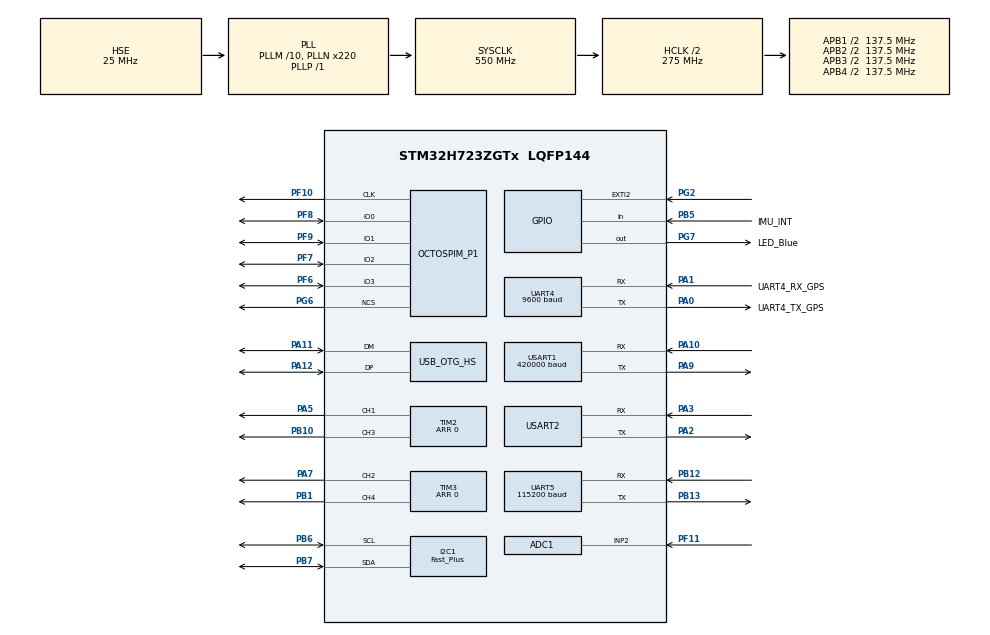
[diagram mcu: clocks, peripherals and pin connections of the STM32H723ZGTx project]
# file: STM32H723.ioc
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ADC1.Channel-0\#ChannelRegularConversion=ADC_CHANNEL_2
ADC1.NbrOfConversionFlag=1
ADC1.OffsetNumber-0\#ChannelRegularConversion=ADC_OFFSET_NONE
ADC1.OffsetSignedSaturation-0\#ChannelRegularConversion=DISABLE
ADC1.Rank-0\#ChannelRegularConversion=1
ADC1.SamplingTime-0\#ChannelRegularConversion=ADC_SAMPLETIME_1CYCLE_5
ADC1.master=1
Dma.Request0=TIM2_CH1
Dma.Request1=TIM3_CH2
Dma.Request2=TIM3_CH4
Dma.Request3=TIM2_CH3
Dma.Request4=UART4_RX
Dma.Request5=UART4_TX
Dma.Request6=USART1_RX
Dma.TIM2_CH1.0.Direction=DMA_MEMORY_TO_PERIPH
Dma.TIM2_CH1.0.EventEnable=DISABLE
Dma.TIM2_CH1.0.FIFOMode=DMA_FIFOMODE_ENABLE
Dma.TIM2_CH1.0.FIFOThreshold=DMA_FIFO_THRESHOLD_1QUARTERFULL
Dma.TIM2_CH1.0.Instance=DMA1_Stream0
Dma.TIM2_CH1.0.MemBurst=DMA_MBURST_SINGLE
Dma.TIM2_CH1.0.MemDataAlignment=DMA_MDATAALIGN_WORD
Dma.TIM2_CH1.0.MemInc=DMA_MINC_ENABLE
Dma.TIM2_CH1.0.Mode=DMA_NORMAL
Dma.TIM2_CH1.0.PeriphBurst=DMA_PBURST_SINGLE
Dma.TIM2_CH1.0.PeriphDataAlignment=DMA_PDATAALIGN_WORD
Dma.TIM2_CH1.0.PeriphInc=DMA_PINC_DISABLE
Dma.TIM2_CH1.0.Polarity=HAL_DMAMUX_REQ_GEN_RISING
Dma.TIM2_CH1.0.Priority=DMA_PRIORITY_HIGH
Dma.TIM2_CH1.0.RequestNumber=1
Dma.TIM2_CH1.0.SignalID=NONE
Dma.TIM2_CH1.0.SyncEnable=DISABLE
Dma.TIM2_CH1.0.SyncPolarity=HAL_DMAMUX_SYNC_NO_EVENT
Dma.TIM2_CH1.0.SyncRequestNumber=1
Dma.TIM2_CH1.0.SyncSignalID=NONE
Dma.TIM2_CH3.3.Direction=DMA_MEMORY_TO_PERIPH
Dma.TIM2_CH3.3.EventEnable=DISABLE
Dma.TIM2_CH3.3.FIFOMode=DMA_FIFOMODE_ENABLE
Dma.TIM2_CH3.3.FIFOThreshold=DMA_FIFO_THRESHOLD_1QUARTERFULL
Dma.TIM2_CH3.3.Instance=DMA1_Stream1
Dma.TIM2_CH3.3.MemBurst=DMA_MBURST_SINGLE
Dma.TIM2_CH3.3.MemDataAlignment=DMA_MDATAALIGN_WORD
Dma.TIM2_CH3.3.MemInc=DMA_MINC_ENABLE
Dma.TIM2_CH3.3.Mode=DMA_NORMAL
Dma.TIM2_CH3.3.PeriphBurst=DMA_PBURST_SINGLE
Dma.TIM2_CH3.3.PeriphDataAlignment=DMA_PDATAALIGN_WORD
Dma.TIM2_CH3.3.PeriphInc=DMA_PINC_DISABLE
Dma.TIM2_CH3.3.Polarity=HAL_DMAMUX_REQ_GEN_RISING
Dma.TIM2_CH3.3.Priority=DMA_PRIORITY_HIGH
Dma.TIM2_CH3.3.RequestNumber=1
Dma.TIM2_CH3.3.SignalID=NONE
Dma.TIM2_CH3.3.SyncEnable=DISABLE
Dma.TIM2_CH3.3.SyncPolarity=HAL_DMAMUX_SYNC_NO_EVENT
Dma.TIM2_CH3.3.SyncRequestNumber=1
Dma.TIM2_CH3.3.SyncSignalID=NONE
Dma.TIM3_CH2.1.Direction=DMA_MEMORY_TO_PERIPH
Dma.TIM3_CH2.1.EventEnable=DISABLE
Dma.TIM3_CH2.1.FIFOMode=DMA_FIFOMODE_ENABLE
Dma.TIM3_CH2.1.FIFOThreshold=DMA_FIFO_THRESHOLD_1QUARTERFULL
Dma.TIM3_CH2.1.Instance=DMA1_Stream2
Dma.TIM3_CH2.1.MemBurst=DMA_MBURST_SINGLE
Dma.TIM3_CH2.1.MemDataAlignment=DMA_MDATAALIGN_WORD
Dma.TIM3_CH2.1.MemInc=DMA_MINC_ENABLE
Dma.TIM3_CH2.1.Mode=DMA_NORMAL
Dma.TIM3_CH2.1.PeriphBurst=DMA_PBURST_SINGLE
Dma.TIM3_CH2.1.PeriphDataAlignment=DMA_PDATAALIGN_WORD
Dma.TIM3_CH2.1.PeriphInc=DMA_PINC_DISABLE
Dma.TIM3_CH2.1.Polarity=HAL_DMAMUX_REQ_GEN_RISING
Dma.TIM3_CH2.1.Priority=DMA_PRIORITY_HIGH
Dma.TIM3_CH2.1.RequestNumber=1
Dma.TIM3_CH2.1.SignalID=NONE
Dma.TIM3_CH2.1.SyncEnable=DISABLE
Dma.TIM3_CH2.1.SyncPolarity=HAL_DMAMUX_SYNC_NO_EVENT
Dma.TIM3_CH2.1.SyncRequestNumber=1
Dma.TIM3_CH2.1.SyncSignalID=NONE
Dma.TIM3_CH4.2.Direction=DMA_MEMORY_TO_PERIPH
Dma.TIM3_CH4.2.EventEnable=DISABLE
Dma.TIM3_CH4.2.FIFOMode=DMA_FIFOMODE_ENABLE
Dma.TIM3_CH4.2.FIFOThreshold=DMA_FIFO_THRESHOLD_FULL
Dma.TIM3_CH4.2.Instance=DMA1_Stream3
Dma.TIM3_CH4.2.MemBurst=DMA_MBURST_SINGLE
Dma.TIM3_CH4.2.MemDataAlignment=DMA_MDATAALIGN_WORD
Dma.TIM3_CH4.2.MemInc=DMA_MINC_ENABLE
Dma.TIM3_CH4.2.Mode=DMA_NORMAL
Dma.TIM3_CH4.2.PeriphBurst=DMA_PBURST_SINGLE
Dma.TIM3_CH4.2.PeriphDataAlignment=DMA_PDATAALIGN_WORD
Dma.TIM3_CH4.2.PeriphInc=DMA_PINC_DISABLE
Dma.TIM3_CH4.2.Polarity=HAL_DMAMUX_REQ_GEN_RISING
Dma.TIM3_CH4.2.Priority=DMA_PRIORITY_HIGH
Dma.TIM3_CH4.2.RequestNumber=1
Dma.TIM3_CH4.2.SignalID=NONE
Dma.TIM3_CH4.2.SyncEnable=DISABLE
Dma.TIM3_CH4.2.SyncPolarity=HAL_DMAMUX_SYNC_NO_EVENT
Dma.TIM3_CH4.2.SyncRequestNumber=1
Dma.TIM3_CH4.2.SyncSignalID=NONE
Dma.UART4_RX.4.Direction=DMA_PERIPH_TO_MEMORY
Dma.UART4_RX.4.EventEnable=DISABLE
Dma.UART4_RX.4.FIFOMode=DMA_FIFOMODE_DISABLE
Dma.UART4_RX.4.Instance=DMA1_Stream4
Dma.UART4_RX.4.MemDataAlignment=DMA_MDATAALIGN_BYTE
Dma.UART4_RX.4.MemInc=DMA_MINC_ENABLE
Dma.UART4_RX.4.Mode=DMA_NORMAL
Dma.UART4_RX.4.PeriphDataAlignment=DMA_PDATAALIGN_BYTE
Dma.UART4_RX.4.PeriphInc=DMA_PINC_DISABLE
Dma.UART4_RX.4.Polarity=HAL_DMAMUX_REQ_GEN_RISING
Dma.UART4_RX.4.Priority=DMA_PRIORITY_LOW
Dma.UART4_RX.4.RequestNumber=1
Dma.UART4_RX.4.SignalID=NONE
Dma.UART4_RX.4.SyncEnable=DISABLE
Dma.UART4_RX.4.SyncPolarity=HAL_DMAMUX_SYNC_NO_EVENT
Dma.UART4_RX.4.SyncRequestNumber=1
Dma.UART4_RX.4.SyncSignalID=NONE
Dma.UART4_TX.5.Direction=DMA_MEMORY_TO_PERIPH
Dma.UART4_TX.5.EventEnable=DISABLE
Dma.UART4_TX.5.FIFOMode=DMA_FIFOMODE_DISABLE
Dma.UART4_TX.5.Instance=DMA1_Stream5
Dma.UART4_TX.5.MemDataAlignment=DMA_MDATAALIGN_BYTE
Dma.UART4_TX.5.MemInc=DMA_MINC_ENABLE
Dma.UART4_TX.5.Mode=DMA_NORMAL
Dma.UART4_TX.5.PeriphDataAlignment=DMA_PDATAALIGN_BYTE
Dma.UART4_TX.5.PeriphInc=DMA_PINC_DISABLE
Dma.UART4_TX.5.Polarity=HAL_DMAMUX_REQ_GEN_RISING
Dma.UART4_TX.5.Priority=DMA_PRIORITY_LOW
Dma.UART4_TX.5.RequestNumber=1
Dma.UART4_TX.5.SignalID=NONE
Dma.UART4_TX.5.SyncEnable=DISABLE
Dma.UART4_TX.5.SyncPolarity=HAL_DMAMUX_SYNC_NO_EVENT
Dma.UART4_TX.5.SyncRequestNumber=1
Dma.UART4_TX.5.SyncSignalID=NONE
Dma.USART1_RX.6.Direction=DMA_PERIPH_TO_MEMORY
Dma.USART1_RX.6.EventEnable=DISABLE
Dma.USART1_RX.6.FIFOMode=DMA_FIFOMODE_DISABLE
Dma.USART1_RX.6.Instance=DMA1_Stream6
Dma.USART1_RX.6.MemDataAlignment=DMA_MDATAALIGN_BYTE
Dma.USART1_RX.6.MemInc=DMA_MINC_ENABLE
Dma.USART1_RX.6.Mode=DMA_CIRCULAR
Dma.USART1_RX.6.PeriphDataAlignment=DMA_PDATAALIGN_BYTE
Dma.USART1_RX.6.PeriphInc=DMA_PINC_DISABLE
Dma.USART1_RX.6.Polarity=HAL_DMAMUX_REQ_GEN_RISING
Dma.USART1_RX.6.Priority=DMA_PRIORITY_VERY_HIGH
Dma.USART1_RX.6.RequestNumber=1
Dma.USART1_RX.6.SignalID=NONE
Dma.USART1_RX.6.SyncEnable=DISABLE
Dma.USART1_RX.6.SyncPolarity=HAL_DMAMUX_SYNC_NO_EVENT
Dma.USART1_RX.6.SyncRequestNumber=1
Dma.USART1_RX.6.SyncSignalID=NONE
I2C1.I2C_Speed_Mode=I2C_Fast_Plus
I2C1.Timing=0x00601A5C
Mcu.Family=STM32H7
Mcu.Name=STM32H723ZGTx
Mcu.Package=LQFP144
NVIC.DMA1_Stream0_IRQn=true\:0\:0\:false\:false\:true\:false\:true\:true
NVIC.DMA1_Stream1_IRQn=true\:0\:0\:false\:false\:true\:false\:true\:true
NVIC.DMA1_Stream2_IRQn=true\:0\:0\:false\:false\:true\:false\:true\:true
NVIC.DMA1_Stream3_IRQn=true\:0\:0\:false\:false\:true\:false\:true\:true
NVIC.DMA1_Stream4_IRQn=true\:0\:0\:false\:false\:true\:false\:true\:true
NVIC.DMA1_Stream5_IRQn=true\:0\:0\:false\:false\:true\:false\:true\:true
NVIC.DMA1_Stream6_IRQn=true\:0\:0\:false\:false\:true\:false\:true\:true
NVIC.OTG_HS_IRQn=true\:0\:0\:false\:false\:true\:false\:true\:true
NVIC.PriorityGroup=NVIC_PRIORITYGROUP_4
NVIC.TIM7_IRQn=true\:0\:0\:false\:false\:true\:true\:true\:true
NVIC.UART4_IRQn=true\:0\:0\:false\:false\:true\:true\:true\:true
NVIC.USART1_IRQn=true\:0\:0\:false\:false\:true\:true\:true\:true
OCTOSPI1.ClockMode=HAL_OSPI_CLOCK_MODE_3
OCTOSPI1.ClockPrescaler=2
OCTOSPI1.DeviceSize=23
OCTOSPI1.FifoThreshold=8
OCTOSPI1.FreeRunningClock=HAL_OSPI_FREERUNCLK_DISABLE
OCTOSPI1.SampleShifting=HAL_OSPI_SAMPLE_SHIFTING_HALFCYCLE
PA0.GPIO_Label=UART4_TX_GPS
PA0.Mode=Asynchronous
PA0.Signal=UART4_TX
PA1.GPIO_Label=UART4_RX_GPS
PA1.Mode=Asynchronous
PA1.Signal=UART4_RX
PA10.GPIO_Speed=GPIO_SPEED_FREQ_VERY_HIGH
PA10.Mode=Asynchronous
PA10.Signal=USART1_RX
PA11.Mode=Device_Only_FS
PA11.Signal=USB_OTG_HS_DM
PA12.Mode=Device_Only_FS
PA12.Signal=USB_OTG_HS_DP
PA13(JTMS/SWDIO).Mode=Trace_Asynchronous_SW
PA13(JTMS/SWDIO).Signal=DEBUG_JTMS-SWDIO
PA14(JTCK/SWCLK).Mode=Trace_Asynchronous_SW
PA14(JTCK/SWCLK).Signal=DEBUG_JTCK-SWCLK
PA2.Mode=Asynchronous
PA2.Signal=USART2_TX
PA3.Mode=Asynchronous
PA3.Signal=USART2_RX
PA5.Signal=S_TIM2_CH1_ETR
PA7.Signal=S_TIM3_CH2
PA9.GPIO_Speed=GPIO_SPEED_FREQ_VERY_HIGH
PA9.Mode=Asynchronous
PA9.Signal=USART1_TX
PB1.Signal=S_TIM3_CH4
PB10.Signal=S_TIM2_CH3
PB12.Mode=Asynchronous
PB12.Signal=UART5_RX
PB13.Mode=Asynchronous
PB13.Signal=UART5_TX
PB3(JTDO/TRACESWO).Mode=Trace_Asynchronous_SW
PB3(JTDO/TRACESWO).Signal=DEBUG_JTDO-SWO
PB5.GPIO_Label=IMU_INT
PB5.Signal=GPIO_Input
PB6.Mode=I2C
PB6.Signal=I2C1_SCL
PB7.Mode=I2C
PB7.Signal=I2C1_SDA
PC14-OSC32_IN.Mode=LSE-External-Oscillator
PC14-OSC32_IN.Signal=RCC_OSC32_IN
PC15-OSC32_OUT.Mode=LSE-External-Oscillator
PC15-OSC32_OUT.Signal=RCC_OSC32_OUT
PF10.Mode=O1_P1_CLK
PF10.Signal=OCTOSPIM_P1_CLK
PF11.Mode=IN2-Single-Ended
PF11.Signal=ADC1_INP2
PF6.Mode=OCTOSPI1_IOL_Port1L
PF6.Signal=OCTOSPIM_P1_IO3
PF7.Mode=OCTOSPI1_IOL_Port1L
PF7.Signal=OCTOSPIM_P1_IO2
PF8.Mode=OCTOSPI1_IOL_Port1L
PF8.Signal=OCTOSPIM_P1_IO0
PF9.Mode=OCTOSPI1_IOL_Port1L
PF9.Signal=OCTOSPIM_P1_IO1
PG10.GPIO_Speed=GPIO_SPEED_FREQ_VERY_HIGH
PG10.Signal=DCMI_D2
PG11.GPIO_Speed=GPIO_SPEED_FREQ_VERY_HIGH
PG11.Signal=DCMI_D3
PG13.GPIO_Speed=GPIO_SPEED_FREQ_VERY_HIGH
PG13.Signal=SPI6_SCK
PG14.GPIO_Speed=GPIO_SPEED_FREQ_VERY_HIGH
PG14.Signal=SPI6_MOSI
PG2.Signal=GPXTI2
PG6.Mode=OCTOSPI1_Port1_NCS
PG6.Signal=OCTOSPIM_P1_NCS
PG7.GPIO_Label=LED_Blue
PG7.GPIO_ModeDefaultOutputPP=GPIO_MODE_OUTPUT_PP
PG7.GPIO_PuPd=GPIO_NOPULL
PG7.GPIO_Speed=GPIO_SPEED_FREQ_HIGH
PG7.PinState=GPIO_PIN_SET
PG7.Signal=GPIO_Output
PG8.GPIO_Speed=GPIO_SPEED_FREQ_VERY_HIGH
PG8.Signal=SPI6_NSS
PH0-OSC_IN.Mode=HSE-External-Oscillator
PH0-OSC_IN.Signal=RCC_OSC_IN
PH1-OSC_OUT.Mode=HSE-External-Oscillator
PH1-OSC_OUT.Signal=RCC_OSC_OUT
ProjectManager.HeapSize=0x200
ProjectManager.StackSize=0x400
ProjectManager.TargetToolchain=STM32CubeIDE
RCC.ADCFreq_Value=100000000
RCC.APB1Freq_Value=137500000
RCC.APB2Freq_Value=137500000
RCC.APB3Freq_Value=137500000
RCC.APB4Freq_Value=137500000
RCC.CortexFreq_Value=550000000
RCC.D1PPRE=RCC_APB3_DIV2
RCC.D2PPRE1=RCC_APB1_DIV2
RCC.D2PPRE2=RCC_APB2_DIV2
RCC.D3PPRE=RCC_APB4_DIV2
RCC.DIVM1=10
RCC.DIVM2=2
RCC.DIVN1=220
RCC.DIVN2=16
RCC.DIVP1=1
RCC.DIVQ1=5
RCC.HCLKFreq_Value=275000000
RCC.HPRE=RCC_HCLK_DIV2
RCC.HSE_VALUE=25000000
RCC.PLL2_VCO_SEL-AdvancedSettings=RCC_PLL2VCOWIDE
RCC.PLLSourceVirtual=RCC_PLLSOURCE_HSE
RCC.RTCClockSelection=RCC_RTCCLKSOURCE_LSE
RCC.SYSCLKFreq_VALUE=550000000
RCC.SYSCLKSource=RCC_SYSCLKSOURCE_PLLCLK
RCC.USBCLockSelection=RCC_USBCLKSOURCE_HSI48
RCC.USBFreq_Value=48000000
SH.S_TIM2_CH1_ETR.0=TIM2_CH1,PWM Generation1 CH1
SH.S_TIM2_CH3.0=TIM2_CH3,PWM Generation3 CH3
SH.S_TIM3_CH2.0=TIM3_CH2,PWM Generation2 CH2
SH.S_TIM3_CH4.0=TIM3_CH4,PWM Generation4 CH4
TIM2.Channel-PWM\ Generation1\ CH1=TIM_CHANNEL_1
TIM2.Channel-PWM\ Generation3\ CH3=TIM_CHANNEL_3
TIM2.Period=0
TIM3.Channel-PWM\ Generation2\ CH2=TIM_CHANNEL_2
TIM3.Channel-PWM\ Generation4\ CH4=TIM_CHANNEL_4
TIM3.Period=0
TIM7.AutoReloadPreload=TIM_AUTORELOAD_PRELOAD_DISABLE
TIM7.Period=125 - 1
TIM7.Prescaler=2750 - 1
TIM7.TIM_MasterOutputTrigger=TIM_TRGO_ENABLE
UART4.BaudRate=9600
UART5.BaudRate=115200
UART5.Mode=MODE_TX_RX
USART1.BaudRate=420000
USART1.VirtualMode-Asynchronous=VM_ASYNC
USART2.VirtualMode-Asynchronous=VM_ASYNC
USB_DEVICE.CLASS_NAME_HS=CDC
USB_DEVICE.VirtualMode=Cdc
USB_DEVICE.VirtualModeHS=Cdc_HS
USB_OTG_HS.VirtualMode-Device_Only_FS=Device_Only_FS
VP_OCTOSPI1_VS_quad.Mode=quad_mode
VP_RTC_VS_RTC_Activate.Mode=RTC_Enabled
VP_TIM7_VS_ClockSourceINT.Mode=Enable_Timer
VP_USB_DEVICE_VS_USB_DEVICE_CDC_HS.Mode=CDC_HS
board=custom

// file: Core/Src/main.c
/* USER CODE BEGIN Header */
/**
  ******************************************************************************
  * @file           : main.c
  * @brief          : Main program body
  ******************************************************************************
  * @attention
  *
  * Copyright (c) 2024 STMicroelectronics.
  * All rights reserved.
  *
  * This software is licensed under terms that can be found in the LICENSE file
  * in the root directory of this software component.
  * If no LICENSE file comes with this software, it is provided AS-IS.
  *
  ******************************************************************************
  */
/* USER CODE END Header */
#include "main.h"
#include "adc.h"
#include "dma.h"
#include "i2c.h"
#include "octospi.h"
#include "rtc.h"
#include "tim.h"
#include "usart.h"
#include "usb_device.h"
#include "gpio.h"

/* USER CODE BEGIN Includes */
#include "stdio.h"
#include "stdlib.h"
#include "string.h"
#include "GNSS.h"
#include "bmp180.h"
#include "MPU6050.h"
#include "dshot.h"
#include "crsf.h"
#include "PID.h"
#include "filters.h"
/* USER CODE END Includes */

/* USER CODE BEGIN PTD */

Link_Stat RX_Link;
/* USER CODE END PTD */

/* USER CODE BEGIN PD */

//Max Pitch, Roll Angle
#define Max_Angle 45
#define Max_Yaw_Rate 10

/* USER CODE END PD */

/* USER CODE BEGIN PV */

//{PA5, PA7, PB10, PB1}
uint16_t motor_cmd[4]={0,0,0,0};

//receiver buffer
uint8_t Uart1_Buffer[64];

//Output CRSF Channel
uint16_t mapped_Channel[16];

//Motor Control Variables
uint16_t Throttle;
float Pitch_Setpoint;
float Roll_Setpoint;
float Yaw_Setpoint;

int inputPrev = 0;

//RC Flag
bool ARMED = 0;
bool Stick_Reset = 0;
bool rc_flag = 0;

//PID output definition
float Pitch_CMD = 0;
float Roll_CMD = 0;
float Yaw_CMD = 0;

uint8_t PID_Software_Prescaler = 0;

//PID loop definition
PID_Variables Pitch_Angle_PID;
PID_Variables Pitch_Rate_PID;
PID_Variables Roll_Angle_PID;
PID_Variables Roll_Rate_PID;
PID_Variables Yaw_PID;

float Roll =0;
/* USER CODE END PV */

void SystemClock_Config(void);
/* USER CODE BEGIN PFP */
//int _write(int file, char *ptr, int len)
//{
//  /* Implement your write code here, this is used by puts and printf for example */
//  int i=0;
//  for(i=0 ; i<len ; i++)
//    ITM_SendChar((*ptr++));
//  return len;
//}

//Receiver Buffer Interrupt
void HAL_UART_RxCpltCallback(UART_HandleTypeDef *huart1) {
    if (huart1->Instance == USART1)
    {
    	//Arrange each packet into a specific packet
    	Packet_Type_Arrange(Uart1_Buffer);
    }
    HAL_UART_Receive_DMA(&huart1, Uart1_Buffer, sizeof(Uart1_Buffer));
}

//Timer Interrupt
void HAL_TIM_PeriodElapsedCallback(TIM_HandleTypeDef *htim)
{

	//double check with timer 7
	if(htim->Instance == TIM7) //Currently this timer interrupt runs at 8kHz
	{

//		MPU6050_Signal();
		if (MPU6050_DataReady() == 1){
			MPU6050_Get_6_AxisRawData(&MPU6050);
			MPU6050_Real_Values(&MPU6050);
			//MPU6050_AngleConvert(&MPU6050);
			MPU6050_KalmanFilter(&MPU6050);
		}

		//Process the data in RxBuffer at 8kHz
		Parse_ELRS_Channels();

		if ((mapped_Channel[7]>1800) && (mapped_Channel[0]<=990) & Stick_Reset)
		{
			ARMED = 1;
		}
		else if (mapped_Channel[7]<1800)
		{
			ARMED = 0;
			Stick_Reset = 0;
		}

		if((mapped_Channel[7]<1800) && (mapped_Channel[0]<=1000))
		{
			Stick_Reset = 1;
		}

		PID_Software_Prescaler ++;

		if((PID_Software_Prescaler == 16)&& ARMED)//8kHz/16 = 500hz
		{

			//Low pass Filter
			int input =(mapped_Channel[0]-988)*1.999;
			Throttle = 0.1*input + (0.9*inputPrev);

			//Setpoint Assigning
			Pitch_Setpoint = Calculate_Setpoint(mapped_Channel[2], Max_Angle);
			Roll_Setpoint = Calculate_Setpoint(mapped_Channel[3], Max_Angle);
			Yaw_Setpoint = Calculate_Setpoint(mapped_Channel[1], Max_Yaw_Rate);

			//PID Calculation
			Pitch_CMD = Cascade_PID(&Pitch_Angle_PID, &Pitch_Rate_PID,Pitch_Setpoint, MPU6050.KalmanAngleY, MPU6050.KalmanAngleY, 500);//RatePitch is not avaliable so I use AnglePitch to Debug
			Roll_CMD = Cascade_PID(&Roll_Angle_PID, &Roll_Rate_PID,Roll_Setpoint, MPU6050.KalmanAngleX, MPU6050.KalmanAngleX, 500);
			Yaw_CMD = PID_Equation(&Yaw_PID, Yaw_Setpoint, MPU6050.Gyro_Z_RealValue, 500);//Yaw PID should input Yaw angular velocity

//			//PID Calculation
//			Pitch_CMD = Cascade_PID(&Pitch_Angle_PID, &Pitch_Rate_PID,Pitch_Setpoint, AnglePitch, AnglePitch, 500);//RatePitch is not avaliable so I use AnglePitch to Debug
//			Roll_CMD = Cascade_PID(&Roll_Angle_PID, &Roll_Rate_PID,Roll_Setpoint, AngleRoll, AngleRoll, 500);
//			Yaw_CMD = PID_Equation(&Yaw_PID, Yaw_Setpoint, AngleRoll, 500);//Yaw PID should input Yaw angular velocity

//		 M4			  M2			y+
//		    .       .				|
//            .   . 				|
//			  .   . 				|
//			.       .				|
//		 M3 		  M1			|-----------x+

//			//Assign new motor value
			motor_cmd[0]= Throttle - Pitch_CMD + Roll_CMD + Yaw_CMD;//M1
			motor_cmd[1]= Throttle + Pitch_CMD + Roll_CMD - Yaw_CMD;//M2
			motor_cmd[2]= Throttle - Pitch_CMD - Roll_CMD - Yaw_CMD;//M3
			motor_cmd[3]= Throttle + Pitch_CMD - Roll_CMD + Yaw_CMD;//M4

			//Process Link Statistic at 500Hz
			Process_Link_Stat_Packets();

			//assign prev throttle
			inputPrev = Throttle;

			//Reset Prescaler
			PID_Software_Prescaler = 0;
		}

		//Continuously sending dshot to prevent ESC to trigger failsafe
		dshot_write(motor_cmd);

		Roll = MPU6050.KalmanAngleY;
	}
}

/* USER CODE END PFP */

int main(void)
{

  /* MCU Configuration--------------------------------------------------------*/

  /* Reset of all peripherals, Initializes the Flash interface and the Systick. */
  HAL_Init();

  /* Configure the system clock */
  SystemClock_Config();

  /* Initialize all configured peripherals */
  MX_GPIO_Init();
  MX_DMA_Init();
  MX_OCTOSPI1_Init();
  MX_RTC_Init();
  MX_USB_DEVICE_Init();
  MX_I2C1_Init();
  MX_UART4_Init();
  MX_UART5_Init();
  MX_USART2_UART_Init();
  MX_TIM2_Init();
  MX_USART1_UART_Init();
  MX_TIM3_Init();
  MX_ADC1_Init();
  MX_TIM7_Init();
  /* USER CODE BEGIN 2 */

//  GNSS_Init(&GNSS_Handle, &huart4);
//  HAL_Delay(500);
//  GNSS_LoadConfig(&GNSS_Handle);

  //Receiver Init
  HAL_UART_Receive_DMA(&huart1, Uart1_Buffer, sizeof(Uart1_Buffer));

  //Acc Gyro Init
  MPU_Config();
  MPU6050_Initialization();
  MPU6050_Calibration(&MPU6050, 1); //1 is for Enabling the Flatness check, 2 is for disable Flatness check

  //Motor Protocol Init
  dshot_init(DSHOT600);

  //PID Control Init
  PID_Init(&Pitch_Angle_PID, 0, 1, 0, -100, 100);
  PID_Init(&Pitch_Rate_PID, 1, 0, 0, -100, 100);
  PID_Init(&Roll_Angle_PID, 0, 1, 0, -100, 100);
  PID_Init(&Roll_Rate_PID, 1, 0, 0, -100, 100);
  PID_Init(&Yaw_PID, 1, 0, 0, -100, 100);

  //Timer Begin
  HAL_TIM_Base_Start_IT(&htim7); //Start the timer

  /* USER CODE END 2 */

  /* Infinite loop */
  while (1)
  {

    /* USER CODE BEGIN 3 */
	  if(ARMED)
	  {

		  //HAL_TIM_Base_Start_IT(&htim7); //Start the timer
	  }
	  else
	  {
		  //HAL_TIM_Base_Stop_IT(&htim7); //Pause or stop the timer
		  Throttle = 0;
		  memset(motor_cmd,0,sizeof(motor_cmd)); //clear motor command
	  }

  }

  /* USER CODE END 3 */
}

void SystemClock_Config(void)
{
  RCC_OscInitTypeDef RCC_OscInitStruct = {0};
  RCC_ClkInitTypeDef RCC_ClkInitStruct = {0};

  /** Supply configuration update enable
  */
  HAL_PWREx_ConfigSupply(PWR_LDO_SUPPLY);

  /** Configure the main internal regulator output voltage
  */
  __HAL_PWR_VOLTAGESCALING_CONFIG(PWR_REGULATOR_VOLTAGE_SCALE0);

  while(!__HAL_PWR_GET_FLAG(PWR_FLAG_VOSRDY)) {}

  /** Configure LSE Drive Capability
  */
  HAL_PWR_EnableBkUpAccess();
  __HAL_RCC_LSEDRIVE_CONFIG(RCC_LSEDRIVE_LOW);

  /** Initializes the RCC Oscillators according to the specified parameters
  * in the RCC_OscInitTypeDef structure.
  */
  RCC_OscInitStruct.OscillatorType = RCC_OSCILLATORTYPE_HSI48|RCC_OSCILLATORTYPE_HSE
                              |RCC_OSCILLATORTYPE_LSE;
  RCC_OscInitStruct.HSEState = RCC_HSE_ON;
  RCC_OscInitStruct.LSEState = RCC_LSE_ON;
  RCC_OscInitStruct.HSI48State = RCC_HSI48_ON;
  RCC_OscInitStruct.PLL.PLLState = RCC_PLL_ON;
  RCC_OscInitStruct.PLL.PLLSource = RCC_PLLSOURCE_HSE;
  RCC_OscInitStruct.PLL.PLLM = 10;
  RCC_OscInitStruct.PLL.PLLN = 220;
  RCC_OscInitStruct.PLL.PLLP = 1;
  RCC_OscInitStruct.PLL.PLLQ = 5;
  RCC_OscInitStruct.PLL.PLLR = 2;
  RCC_OscInitStruct.PLL.PLLRGE = RCC_PLL1VCIRANGE_1;
  RCC_OscInitStruct.PLL.PLLVCOSEL = RCC_PLL1VCOWIDE;
  RCC_OscInitStruct.PLL.PLLFRACN = 0;
  if (HAL_RCC_OscConfig(&RCC_OscInitStruct) != HAL_OK)
  {
    Error_Handler();
  }

  /** Initializes the CPU, AHB and APB buses clocks
  */
  RCC_ClkInitStruct.ClockType = RCC_CLOCKTYPE_HCLK|RCC_CLOCKTYPE_SYSCLK
                              |RCC_CLOCKTYPE_PCLK1|RCC_CLOCKTYPE_PCLK2
                              |RCC_CLOCKTYPE_D3PCLK1|RCC_CLOCKTYPE_D1PCLK1;
  RCC_ClkInitStruct.SYSCLKSource = RCC_SYSCLKSOURCE_PLLCLK;
  RCC_ClkInitStruct.SYSCLKDivider = RCC_SYSCLK_DIV1;
  RCC_ClkInitStruct.AHBCLKDivider = RCC_HCLK_DIV2;
  RCC_ClkInitStruct.APB3CLKDivider = RCC_APB3_DIV2;
  RCC_ClkInitStruct.APB1CLKDivider = RCC_APB1_DIV2;
  RCC_ClkInitStruct.APB2CLKDivider = RCC_APB2_DIV2;
  RCC_ClkInitStruct.APB4CLKDivider = RCC_APB4_DIV2;

  if (HAL_RCC_ClockConfig(&RCC_ClkInitStruct, FLASH_LATENCY_3) != HAL_OK)
  {
    Error_Handler();
  }
}

void Error_Handler(void)
{
  __disable_irq();
  while (1)
  {
  }
}
